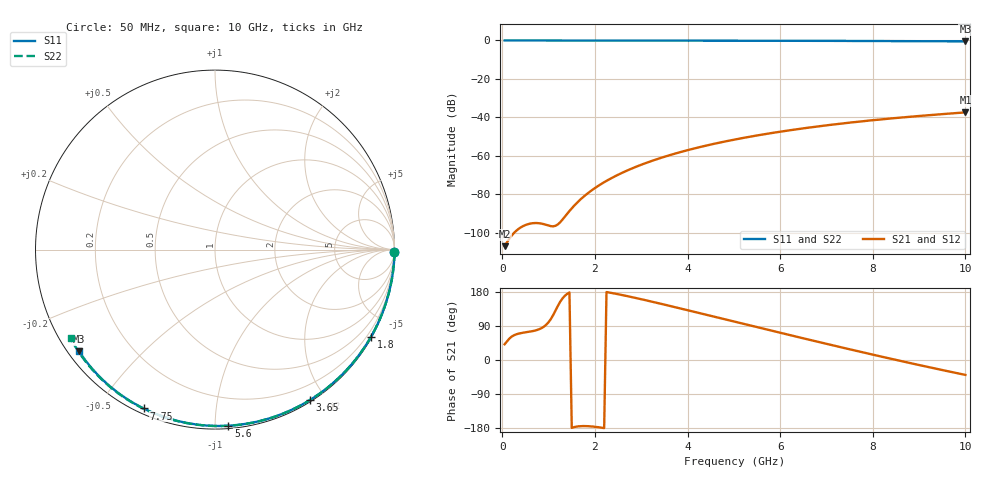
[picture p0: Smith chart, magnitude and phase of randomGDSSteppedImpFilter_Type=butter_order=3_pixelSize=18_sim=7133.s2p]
! freq	dB(S11)	phase(S11)	dB(S12)	phase(S12)
!  dB(S21)	phase(S21)	dB(S22)	phase(S22)
!S-par simulation data
#  GHz  S  DB  R 50
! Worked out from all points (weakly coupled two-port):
!   200 points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, 50 MHz to 10 GHz, reference 50 ohm
!   highest |S21| = -37.39 dB at 10 GHz (marker M1); lowest = -106.9 dB at 50 MHz (marker M2)
!   lowest |S11| = -0.5 dB at 10 GHz (marker M3), VSWR 36.13, Z = 1.54 - j16.7 ohm
!   |S11| at or under -10 dB: nowhere
!   |S22| runs from -0.5 to 0.0 dB; largest |S21 - S12| = 0
!   S11 on the Smith chart (normalised r, x): 50 MHz: open; 1.8 GHz: 0.03, -3.84; 3.65 GHz: 0.02, -1.82; 5.6 GHz: 0.02, -1.08; 7.75 GHz: 0.02, -0.65; 10 GHz: 0.03, -0.33
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0.05  -0.00 -0.8  -106.91 41.5  -106.91 41.5  -0.00 -0.9
0.45  -0.01 -7.4  -96.46 72.0  -96.46 72.0  -0.01 -7.8
0.9  -0.02 -14.7  -95.49 88.1  -95.49 88.1  -0.02 -15.4
1.3  -0.03 -21.2  -93.09 162.5  -93.09 162.5  -0.03 -22.2
1.75  -0.04 -28.4  -81.31 -174.4  -81.31 -174.4  -0.04 -29.7
1.8  -0.04 -29.2  -80.29 -174.4  -80.29 -174.4  -0.04 -30.5
1.85  -0.04 -30.0  -79.34 -174.6  -79.34 -174.6  -0.04 -31.4
2  -0.04 -32.3  -76.71 -176.2  -76.71 -176.2  -0.04 -33.8
2.15  -0.04 -34.7  -74.39 -178.7  -74.39 -178.7  -0.05 -36.3
2.5  -0.05 -40.2  -69.79 173.6  -69.79 173.6  -0.05 -42.0
2.9  -0.06 -46.3  -65.54 163.2  -65.54 163.2  -0.06 -48.5
3.4  -0.07 -53.9  -61.21 149.1  -61.21 149.1  -0.07 -56.4
3.65  -0.08 -57.7  -59.36 141.8  -59.36 141.8  -0.08 -60.3
4.3  -0.09 -67.2  -55.21 122.5  -55.21 122.5  -0.10 -70.2
5.05  -0.12 -78.0  -51.35 100.1  -51.35 100.1  -0.12 -81.4
5.6  -0.14 -85.6  -48.97 83.7  -48.97 83.7  -0.15 -89.3
6.15  -0.16 -93.1  -46.88 67.5  -46.88 67.5  -0.17 -97.1
6.7  -0.19 -100.5  -45.03 51.3  -45.03 51.3  -0.20 -104.7
7.75  -0.26 -114.2  -42.06 21.2  -42.06 21.2  -0.27 -118.8
8.35  -0.31 -121.9  -40.63 4.4  -40.63 4.4  -0.32 -126.7
9.2  -0.39 -132.8  -38.86 -18.6  -38.86 -18.6  -0.41 -137.9
10  -0.48 -143.1  -37.39 -39.3  -37.39 -39.3  -0.50 -148.4
